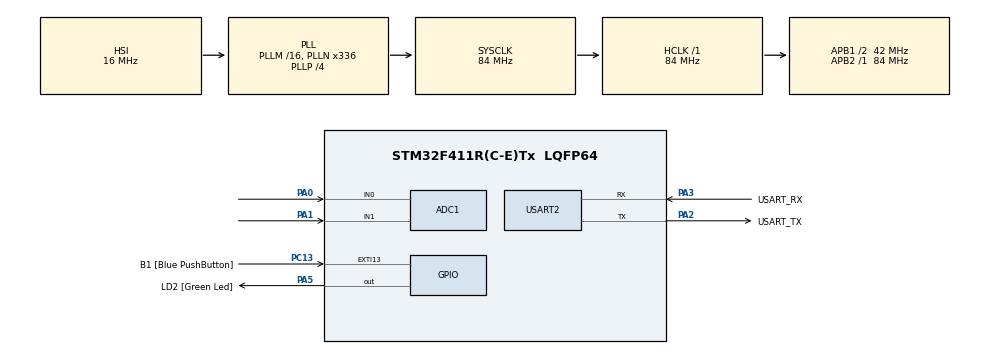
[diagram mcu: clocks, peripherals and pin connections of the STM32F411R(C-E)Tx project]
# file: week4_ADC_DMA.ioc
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ADC1.Channel-0\#ChannelRegularConversion=ADC_CHANNEL_0
ADC1.Channel-1\#ChannelRegularConversion=ADC_CHANNEL_1
ADC1.ClockPrescaler=ADC_CLOCK_SYNC_PCLK_DIV4
ADC1.ContinuousConvMode=ENABLE
ADC1.DMAContinuousRequests=ENABLE
ADC1.NbrOfConversion=2
ADC1.NbrOfConversionFlag=1
ADC1.Rank-0\#ChannelRegularConversion=1
ADC1.Rank-1\#ChannelRegularConversion=2
ADC1.SamplingTime-0\#ChannelRegularConversion=ADC_SAMPLETIME_480CYCLES
ADC1.SamplingTime-1\#ChannelRegularConversion=ADC_SAMPLETIME_480CYCLES
ADC1.ScanConvMode=ENABLE
ADC1.master=1
Dma.ADC1.0.Direction=DMA_PERIPH_TO_MEMORY
Dma.ADC1.0.FIFOMode=DMA_FIFOMODE_DISABLE
Dma.ADC1.0.Instance=DMA2_Stream0
Dma.ADC1.0.MemDataAlignment=DMA_MDATAALIGN_WORD
Dma.ADC1.0.MemInc=DMA_MINC_ENABLE
Dma.ADC1.0.Mode=DMA_CIRCULAR
Dma.ADC1.0.PeriphDataAlignment=DMA_PDATAALIGN_WORD
Dma.ADC1.0.PeriphInc=DMA_PINC_DISABLE
Dma.ADC1.0.Priority=DMA_PRIORITY_LOW
Dma.Request0=ADC1
Mcu.Family=STM32F4
Mcu.Name=STM32F411R(C-E)Tx
Mcu.Package=LQFP64
NVIC.DMA2_Stream0_IRQn=true\:0\:0\:false\:false\:true\:false\:true
NVIC.EXTI15_10_IRQn=true\:0\:0\:false\:false\:true\:true\:true
NVIC.PriorityGroup=NVIC_PRIORITYGROUP_0
PA0-WKUP.Signal=ADCx_IN0
PA1.Signal=ADCx_IN1
PA13.GPIO_Label=TMS
PA13.Mode=Serial_Wire
PA13.Signal=SYS_JTMS-SWDIO
PA14.GPIO_Label=TCK
PA14.Mode=Serial_Wire
PA14.Signal=SYS_JTCK-SWCLK
PA2.GPIO_Label=USART_TX
PA2.Mode=Asynchronous
PA2.Signal=USART2_TX
PA3.GPIO_Label=USART_RX
PA3.Mode=Asynchronous
PA3.Signal=USART2_RX
PA5.GPIO_Label=LD2 [Green Led]
PA5.Signal=GPIO_Output
PB3.GPIO_Label=SWO
PB3.Signal=SYS_JTDO-SWO
PC13-ANTI_TAMP.GPIO_Label=B1 [Blue PushButton]
PC13-ANTI_TAMP.GPIO_ModeDefaultEXTI=GPIO_MODE_IT_RISING_FALLING
PC13-ANTI_TAMP.GPIO_PuPd=GPIO_PULLUP
PC13-ANTI_TAMP.Signal=GPXTI13
PC14-OSC32_IN.Mode=LSE-External-Oscillator
PC14-OSC32_IN.Signal=RCC_OSC32_IN
PC15-OSC32_OUT.Mode=LSE-External-Oscillator
PC15-OSC32_OUT.Signal=RCC_OSC32_OUT
PH0\ -\ OSC_IN.Mode=HSE-External-Clock-Source
PH0\ -\ OSC_IN.Signal=RCC_OSC_IN
PH1\ -\ OSC_OUT.Mode=HSE-External-Clock-Source
PH1\ -\ OSC_OUT.Signal=RCC_OSC_OUT
ProjectManager.HeapSize=0x200
ProjectManager.StackSize=0x400
ProjectManager.TargetToolchain=STM32CubeIDE
RCC.48MHZClocksFreq_Value=84000000
RCC.AHBFreq_Value=84000000
RCC.APB1CLKDivider=RCC_HCLK_DIV2
RCC.APB1Freq_Value=42000000
RCC.APB1TimFreq_Value=84000000
RCC.APB2Freq_Value=84000000
RCC.APB2TimFreq_Value=84000000
RCC.CortexFreq_Value=84000000
RCC.FLatency-AdvancedSettings=FLASH_LATENCY_2
RCC.HCLKFreq_Value=84000000
RCC.HSE_VALUE=8000000
RCC.HSI_VALUE=16000000
RCC.PLLN=336
RCC.PLLP=RCC_PLLP_DIV4
RCC.SYSCLKFreq_VALUE=84000000
RCC.SYSCLKSource=RCC_SYSCLKSOURCE_PLLCLK
RCC.VCOOutputFreq_Value=336000000
SH.ADCx_IN0.0=ADC1_IN0,IN0
SH.ADCx_IN1.0=ADC1_IN1,IN1
USART2.VirtualMode=VM_ASYNC
board=NUCLEO-F411RE

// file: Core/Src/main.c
/* USER CODE BEGIN Header */
/**
  ******************************************************************************
  * @file           : main.c
  * @brief          : Main program body
  ******************************************************************************
  * @attention
  *
  * <h2><center>&copy; Copyright (c) 2021 STMicroelectronics.
  * All rights reserved.</center></h2>
  *
  * This software component is licensed by ST under BSD 3-Clause license,
  * the "License"; You may not use this file except in compliance with the
  * License. You may obtain a copy of the License at:
  *                        opensource.org/licenses/BSD-3-Clause
  *
  ******************************************************************************
  */
/* USER CODE END Header */
#include "main.h"

/* USER CODE BEGIN PD */

#define start_state 1
#define stop_state 0

/* USER CODE END PD */

ADC_HandleTypeDef hadc1;
DMA_HandleTypeDef hdma_adc1;

UART_HandleTypeDef huart2;

/* USER CODE BEGIN PV */

uint32_t ADC_data[2] = {0},ref_time = 0,delay_time = 0,a = 0;
uint16_t state = start_state;

/* USER CODE END PV */

void SystemClock_Config(void);
static void MX_GPIO_Init(void);
static void MX_DMA_Init(void);
static void MX_USART2_UART_Init(void);
static void MX_ADC1_Init(void);

int main(void)
{

  /* MCU Configuration--------------------------------------------------------*/

  /* Reset of all peripherals, Initializes the Flash interface and the Systick. */
  HAL_Init();

  /* Configure the system clock */
  SystemClock_Config();

  /* Initialize all configured peripherals */
  MX_GPIO_Init();
  MX_DMA_Init();
  MX_USART2_UART_Init();
  MX_ADC1_Init();
  /* USER CODE BEGIN 2 */
  HAL_GPIO_WritePin(LD2_GPIO_Port, LD2_Pin, 1);
  HAL_ADC_Start_DMA(&hadc1, ADC_data, 2);

  /* USER CODE END 2 */

  /* Infinite loop */
  /* USER CODE BEGIN WHILE */
  while (1)
  {
	  HAL_GPIO_WritePin(LD2_GPIO_Port, LD2_Pin, HAL_GetTick() > delay_time);
    /* USER CODE END WHILE */

  }
}

void SystemClock_Config(void)
{
  RCC_OscInitTypeDef RCC_OscInitStruct = {0};
  RCC_ClkInitTypeDef RCC_ClkInitStruct = {0};

  /** Configure the main internal regulator output voltage
  */
  __HAL_RCC_PWR_CLK_ENABLE();
  __HAL_PWR_VOLTAGESCALING_CONFIG(PWR_REGULATOR_VOLTAGE_SCALE1);
  /** Initializes the RCC Oscillators according to the specified parameters
  * in the RCC_OscInitTypeDef structure.
  */
  RCC_OscInitStruct.OscillatorType = RCC_OSCILLATORTYPE_HSI;
  RCC_OscInitStruct.HSIState = RCC_HSI_ON;
  RCC_OscInitStruct.HSICalibrationValue = RCC_HSICALIBRATION_DEFAULT;
  RCC_OscInitStruct.PLL.PLLState = RCC_PLL_ON;
  RCC_OscInitStruct.PLL.PLLSource = RCC_PLLSOURCE_HSI;
  RCC_OscInitStruct.PLL.PLLM = 16;
  RCC_OscInitStruct.PLL.PLLN = 336;
  RCC_OscInitStruct.PLL.PLLP = RCC_PLLP_DIV4;
  RCC_OscInitStruct.PLL.PLLQ = 4;
  if (HAL_RCC_OscConfig(&RCC_OscInitStruct) != HAL_OK)
  {
    Error_Handler();
  }
  /** Initializes the CPU, AHB and APB buses clocks
  */
  RCC_ClkInitStruct.ClockType = RCC_CLOCKTYPE_HCLK|RCC_CLOCKTYPE_SYSCLK
                              |RCC_CLOCKTYPE_PCLK1|RCC_CLOCKTYPE_PCLK2;
  RCC_ClkInitStruct.SYSCLKSource = RCC_SYSCLKSOURCE_PLLCLK;
  RCC_ClkInitStruct.AHBCLKDivider = RCC_SYSCLK_DIV1;
  RCC_ClkInitStruct.APB1CLKDivider = RCC_HCLK_DIV2;
  RCC_ClkInitStruct.APB2CLKDivider = RCC_HCLK_DIV1;

  if (HAL_RCC_ClockConfig(&RCC_ClkInitStruct, FLASH_LATENCY_2) != HAL_OK)
  {
    Error_Handler();
  }
}

static void MX_ADC1_Init(void)
{

  ADC_ChannelConfTypeDef sConfig = {0};

  /** Configure the global features of the ADC (Clock, Resolution, Data Alignment and number of conversion)
  */
  hadc1.Instance = ADC1;
  hadc1.Init.ClockPrescaler = ADC_CLOCK_SYNC_PCLK_DIV4;
  hadc1.Init.Resolution = ADC_RESOLUTION_12B;
  hadc1.Init.ScanConvMode = ENABLE;
  hadc1.Init.ContinuousConvMode = ENABLE;
  hadc1.Init.DiscontinuousConvMode = DISABLE;
  hadc1.Init.ExternalTrigConvEdge = ADC_EXTERNALTRIGCONVEDGE_NONE;
  hadc1.Init.ExternalTrigConv = ADC_SOFTWARE_START;
  hadc1.Init.DataAlign = ADC_DATAALIGN_RIGHT;
  hadc1.Init.NbrOfConversion = 2;
  hadc1.Init.DMAContinuousRequests = ENABLE;
  hadc1.Init.EOCSelection = ADC_EOC_SINGLE_CONV;
  if (HAL_ADC_Init(&hadc1) != HAL_OK)
  {
    Error_Handler();
  }
  /** Configure for the selected ADC regular channel its corresponding rank in the sequencer and its sample time.
  */
  sConfig.Channel = ADC_CHANNEL_0;
  sConfig.Rank = 1;
  sConfig.SamplingTime = ADC_SAMPLETIME_480CYCLES;
  if (HAL_ADC_ConfigChannel(&hadc1, &sConfig) != HAL_OK)
  {
    Error_Handler();
  }
  /** Configure for the selected ADC regular channel its corresponding rank in the sequencer and its sample time.
  */
  sConfig.Channel = ADC_CHANNEL_1;
  sConfig.Rank = 2;
  if (HAL_ADC_ConfigChannel(&hadc1, &sConfig) != HAL_OK)
  {
    Error_Handler();
  }

}

static void MX_USART2_UART_Init(void)
{

  huart2.Instance = USART2;
  huart2.Init.BaudRate = 115200;
  huart2.Init.WordLength = UART_WORDLENGTH_8B;
  huart2.Init.StopBits = UART_STOPBITS_1;
  huart2.Init.Parity = UART_PARITY_NONE;
  huart2.Init.Mode = UART_MODE_TX_RX;
  huart2.Init.HwFlowCtl = UART_HWCONTROL_NONE;
  huart2.Init.OverSampling = UART_OVERSAMPLING_16;
  if (HAL_UART_Init(&huart2) != HAL_OK)
  {
    Error_Handler();
  }

}

static void MX_DMA_Init(void)
{

  /* DMA controller clock enable */
  __HAL_RCC_DMA2_CLK_ENABLE();

  /* DMA interrupt init */
  /* DMA2_Stream0_IRQn interrupt configuration */
  HAL_NVIC_SetPriority(DMA2_Stream0_IRQn, 0, 0);
  HAL_NVIC_EnableIRQ(DMA2_Stream0_IRQn);

}

static void MX_GPIO_Init(void)
{
  GPIO_InitTypeDef GPIO_InitStruct = {0};

  /* GPIO Ports Clock Enable */
  __HAL_RCC_GPIOC_CLK_ENABLE();
  __HAL_RCC_GPIOH_CLK_ENABLE();
  __HAL_RCC_GPIOA_CLK_ENABLE();
  __HAL_RCC_GPIOB_CLK_ENABLE();

  /*Configure GPIO pin Output Level */
  HAL_GPIO_WritePin(LD2_GPIO_Port, LD2_Pin, GPIO_PIN_RESET);

  /*Configure GPIO pin : B1_Pin */
  GPIO_InitStruct.Pin = B1_Pin;
  GPIO_InitStruct.Mode = GPIO_MODE_IT_RISING_FALLING;
  GPIO_InitStruct.Pull = GPIO_PULLUP;
  HAL_GPIO_Init(B1_GPIO_Port, &GPIO_InitStruct);

  /*Configure GPIO pin : LD2_Pin */
  GPIO_InitStruct.Pin = LD2_Pin;
  GPIO_InitStruct.Mode = GPIO_MODE_OUTPUT_PP;
  GPIO_InitStruct.Pull = GPIO_NOPULL;
  GPIO_InitStruct.Speed = GPIO_SPEED_FREQ_LOW;
  HAL_GPIO_Init(LD2_GPIO_Port, &GPIO_InitStruct);

  /* EXTI interrupt init*/
  HAL_NVIC_SetPriority(EXTI15_10_IRQn, 0, 0);
  HAL_NVIC_EnableIRQ(EXTI15_10_IRQn);

}

/* USER CODE BEGIN 4 */

void HAL_GPIO_EXTI_Callback(uint16_t GPIO_Pin){
	if(GPIO_Pin == GPIO_PIN_13){
		if(state == start_state){
			state = stop_state;
			delay_time = 1000+((22695477*ADC_data[0])+ADC_data[1])%10000;
			delay_time += HAL_GetTick();
		}
		else{
			ref_time = HAL_GetTick()-delay_time;
			state = start_state;
		}
	}
}

/* USER CODE END 4 */

void Error_Handler(void)
{
  __disable_irq();
  while (1)
  {
  }
}

/************************ (C) COPYRIGHT STMicroelectronics *****END OF FILE****/
